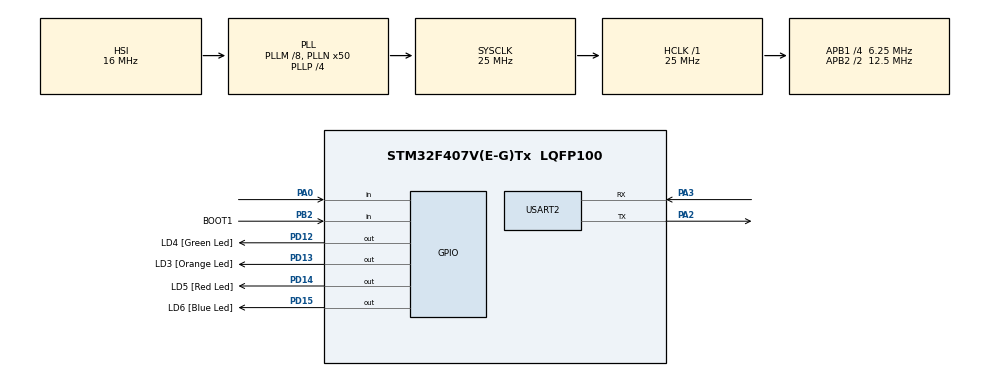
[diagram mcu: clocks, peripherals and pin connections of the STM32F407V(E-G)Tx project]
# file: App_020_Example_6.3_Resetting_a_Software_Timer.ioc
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Mcu.Family=STM32F4
Mcu.Name=STM32F407V(E-G)Tx
Mcu.Package=LQFP100
NVIC.PriorityGroup=NVIC_PRIORITYGROUP_4
NVIC.TIM6_DAC_IRQn=true\:0\:0\:false\:false\:true\:false\:true\:true
NVIC.TimeBase=TIM6_DAC_IRQn
NVIC.TimeBaseIP=TIM6
PA0-WKUP.Signal=GPIO_Input
PA13.GPIO_Label=SWDIO
PA13.Signal=SYS_JTMS-SWDIO
PA14.GPIO_Label=SWCLK
PA14.Signal=SYS_JTCK-SWCLK
PA2.Mode=Asynchronous
PA2.Signal=USART2_TX
PA3.Mode=Asynchronous
PA3.Signal=USART2_RX
PB2.GPIO_Label=BOOT1
PB2.GPIO_Mode=GPIO_MODE_INPUT
PB2.GPIO_PuPd=GPIO_NOPULL
PB2.Signal=GPIO_Input
PB3.GPIO_Label=SWO
PB3.Signal=SYS_JTDO-SWO
PC7.GPIO_Label=I2S3_MCK [CS43L22_MCLK]
PC7.GPIO_Mode=GPIO_MODE_AF_PP
PC7.GPIO_PuPd=GPIO_NOPULL
PC7.GPIO_Speed=GPIO_SPEED_FREQ_LOW
PC7.Signal=I2S3_MCK
PD12.GPIO_Label=LD4 [Green Led]
PD12.GPIO_PuPd=GPIO_NOPULL
PD12.GPIO_Speed=GPIO_SPEED_FREQ_LOW
PD12.Signal=GPIO_Output
PD13.GPIO_Label=LD3 [Orange Led]
PD13.GPIO_PuPd=GPIO_NOPULL
PD13.GPIO_Speed=GPIO_SPEED_FREQ_LOW
PD13.Signal=GPIO_Output
PD14.GPIO_Label=LD5 [Red Led]
PD14.GPIO_PuPd=GPIO_NOPULL
PD14.GPIO_Speed=GPIO_SPEED_FREQ_LOW
PD14.Signal=GPIO_Output
PD15.GPIO_Label=LD6 [Blue Led]
PD15.GPIO_PuPd=GPIO_NOPULL
PD15.GPIO_Speed=GPIO_SPEED_FREQ_LOW
PD15.Signal=GPIO_Output
ProjectManager.HeapSize=0x200
ProjectManager.StackSize=0x400
ProjectManager.TargetToolchain=STM32CubeIDE
RCC.48MHZClocksFreq_Value=14285714.285714285
RCC.AHBFreq_Value=25000000
RCC.APB1CLKDivider=RCC_HCLK_DIV4
RCC.APB1Freq_Value=6250000
RCC.APB1TimFreq_Value=12500000
RCC.APB2CLKDivider=RCC_HCLK_DIV2
RCC.APB2Freq_Value=12500000
RCC.APB2TimFreq_Value=25000000
RCC.CortexFreq_Value=25000000
RCC.HCLKFreq_Value=25000000
RCC.HSE_VALUE=8000000
RCC.HSI_VALUE=16000000
RCC.LSE_VALUE=32768
RCC.PLLM=8
RCC.PLLN=50
RCC.PLLP=RCC_PLLP_DIV4
RCC.PLLQ=7
RCC.SYSCLKFreq_VALUE=25000000
RCC.SYSCLKSource=RCC_SYSCLKSOURCE_PLLCLK
RCC.VCOOutputFreq_Value=100000000
USART2.VirtualMode=VM_ASYNC
VP_SYS_VS_tim6.Mode=TIM6
board=STM32F407G-DISC1

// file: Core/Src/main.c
/* USER CODE BEGIN Header */
/**
  ******************************************************************************
  * @file           : main.c
  * @brief          : Main program body
  ******************************************************************************
  * @attention
  *
  * Copyright (c) 2024 STMicroelectronics.
  * All rights reserved.
  *
  * This software is licensed under terms that can be found in the LICENSE file
  * in the root directory of this software component.
  * If no LICENSE file comes with this software, it is provided AS-IS.
  *
  *
  ******************************************************************************
  */

/**
 * @author  Julio Cesar Bernal Mendez
 * @brief   This is the "Example 6.3 Resetting a software timer"
 *          from the Mastering the FreeRTOS Real Time Kernel v1.0 book.
 *
 *          This example simulates the behavior of the backlight on a cellphone.
 *          The backlight:
 *          - Turns on when the button is pressed.
 *          - Remains on when the button is pressed again within a certain time period.
 *          - Automatically turns off if the button is not pressed within a certain time period.
 *
 *          A one-shot timer (2 seconds) is used to implement this behavior:
 *          - The simulated backlight is turned on when a key is pressed, and turned off in the
 *            software timer's callback function (vBacklightTimerCallback).
 *          - The software timer is reset each time a key is pressed.
 *          - The time period during which a key must be pressed to prevent the backlight being turned off
 *            is therefore equal to the period of the software timer; if the software timer is not reset by
 *            a key press before the timer expires, then the timer's callback function executes, and the
 *            the backlight is turned off.
 *
 *          Example 6.3 creates a task to poll the button, ideally an interrupt should be used otherwise
 *          when polling is used, processing time is wasted waiting for events that have not occurred.
 *          Example 6.3 is not event driven because interrupt management techniques are covered later.
 *
 * @version 0.1
 * @date    2024-11-4
 *
 */
/* USER CODE END Header */
#include "main.h"

/* USER CODE BEGIN Includes */
#include <stdio.h>
#include "FreeRTOS.h"
#include "task.h"
#include "timers.h"
/* USER CODE END Includes */

/* USER CODE BEGIN PD */
#define STRING_SIZE                   (62)

/* the period assigned to the one-shot timer is 2000 milliseconds */
#define mainBACKLIGHT_TIMER_PERIOD    pdMS_TO_TICKS( 2000 )
/* USER CODE END PD */

UART_HandleTypeDef huart2;

/* USER CODE BEGIN PV */
/* char array used to print out via UART */
char     pcOutputString[ STRING_SIZE ];

/* variable that holds the backlight timer handle */
TimerHandle_t xBacklightTimer;

/* variable that holds the status of xTaskCreate() for the button task */
BaseType_t xButtonTaskCreated;

/* variable that holds the status of xTimerStart() for the software timer */
BaseType_t xBacklightTimerStarted;

/* variable that holds the status of the backlight (ON/OFF) */
BaseType_t xSimulatedBacklightOn = pdFALSE;
/* USER CODE END PV */

void SystemClock_Config(void);
static void MX_GPIO_Init(void);
static void MX_USART2_UART_Init(void);
/* USER CODE BEGIN PFP */
void UART2_Print_Text( UART_HandleTypeDef *huart, const char *text );

static void vBacklightTimerCallback( TimerHandle_t xTimer );
static void vButtonHitTask( void *pvParameters );
/* USER CODE END PFP */

int main(void)
{

  /* MCU Configuration--------------------------------------------------------*/

  /* Reset of all peripherals, Initializes the Flash interface and the Systick. */
  HAL_Init();

  /* Configure the system clock */
  SystemClock_Config();

  /* Initialize all configured peripherals */
  MX_GPIO_Init();
  MX_USART2_UART_Init();
  /* USER CODE BEGIN 2 */
  /* enable CYCCNT (Cycle Count, needed for SEGGER SystemView) in DWT_CTRL register */
  DWT->CTRL |= DWT_CTRL_CYCCNTENA_Msk;

  /* initialize and configure SEGGER SystemView */
  SEGGER_SYSVIEW_Conf();

  /* start recording SEGGER SystemView events */
  SEGGER_SYSVIEW_Start();

  /* create the button polling task */
  xButtonTaskCreated =  xTaskCreate( vButtonHitTask, "Button", 1000, NULL, 1, NULL );

  /* create the one-shot timer, storing the handle to the created timer in xOneShotTimer */
  xBacklightTimer = xTimerCreate( "Backlight", /* text name for the software timer - not used by FreeRTOS */
                                  mainBACKLIGHT_TIMER_PERIOD, /* software timer's period in ticks */
                                  pdFALSE,   /* setting xAutoReload to pdFALSE creates a one-shot software timer */
                                  NULL,      /* the timer's ID is initialized to NULL */
                                  vBacklightTimerCallback /* vBacklightTimerCallback function is used by this software timer */
                                );

  /* check both the button task and the software timer (backlight) were created */
  if ( ( xButtonTaskCreated == pdPASS ) && ( xBacklightTimer != NULL ) )
  {
    /* Start the software timer (backlight) using a block time of 0 (no block time).
       The scheduler has not been started yet so any block time specified
       here would be ignored anyway */
    xBacklightTimerStarted = xTimerStart( xBacklightTimer, 0 );

    /* The implementation of xTimerStart() uses the timer command queue,
       and xTimerStart() will fail if the timer command queue gets full.
       The timer service task does not get created until the scheduler is
       started, so all commands sent to the command queue will stay in the
       queue until after the scheduler has been started. Check the call
       to xTimerStart() passed */
    if ( xBacklightTimerStarted == pdPASS )
    {
      /* start the scheduler */
      vTaskStartScheduler();
    }
  }
  /* USER CODE END 2 */

  /* Infinite loop */
  /* USER CODE BEGIN WHILE */

  /* If all is well, main() will not reach here because the scheduler will now
     be running the created tasks.
     If main() does reach here, then there was not enough heap memory to create either
     the idle or timer tasks */
  while (1)
  {
    /* USER CODE END WHILE */

  }
}

void SystemClock_Config(void)
{
  RCC_OscInitTypeDef RCC_OscInitStruct = {0};
  RCC_ClkInitTypeDef RCC_ClkInitStruct = {0};

  /** Configure the main internal regulator output voltage
  */
  __HAL_RCC_PWR_CLK_ENABLE();
  __HAL_PWR_VOLTAGESCALING_CONFIG(PWR_REGULATOR_VOLTAGE_SCALE1);

  /** Initializes the RCC Oscillators according to the specified parameters
  * in the RCC_OscInitTypeDef structure.
  */
  RCC_OscInitStruct.OscillatorType = RCC_OSCILLATORTYPE_HSI;
  RCC_OscInitStruct.HSIState = RCC_HSI_ON;
  RCC_OscInitStruct.HSICalibrationValue = RCC_HSICALIBRATION_DEFAULT;
  RCC_OscInitStruct.PLL.PLLState = RCC_PLL_ON;
  RCC_OscInitStruct.PLL.PLLSource = RCC_PLLSOURCE_HSI;
  RCC_OscInitStruct.PLL.PLLM = 8;
  RCC_OscInitStruct.PLL.PLLN = 50;
  RCC_OscInitStruct.PLL.PLLP = RCC_PLLP_DIV4;
  RCC_OscInitStruct.PLL.PLLQ = 7;
  if (HAL_RCC_OscConfig(&RCC_OscInitStruct) != HAL_OK)
  {
    Error_Handler();
  }

  /** Initializes the CPU, AHB and APB buses clocks
  */
  RCC_ClkInitStruct.ClockType = RCC_CLOCKTYPE_HCLK|RCC_CLOCKTYPE_SYSCLK
                              |RCC_CLOCKTYPE_PCLK1|RCC_CLOCKTYPE_PCLK2;
  RCC_ClkInitStruct.SYSCLKSource = RCC_SYSCLKSOURCE_PLLCLK;
  RCC_ClkInitStruct.AHBCLKDivider = RCC_SYSCLK_DIV1;
  RCC_ClkInitStruct.APB1CLKDivider = RCC_HCLK_DIV4;
  RCC_ClkInitStruct.APB2CLKDivider = RCC_HCLK_DIV2;

  if (HAL_RCC_ClockConfig(&RCC_ClkInitStruct, FLASH_LATENCY_0) != HAL_OK)
  {
    Error_Handler();
  }
}

static void MX_USART2_UART_Init(void)
{

  huart2.Instance = USART2;
  huart2.Init.BaudRate = 115200;
  huart2.Init.WordLength = UART_WORDLENGTH_8B;
  huart2.Init.StopBits = UART_STOPBITS_1;
  huart2.Init.Parity = UART_PARITY_NONE;
  huart2.Init.Mode = UART_MODE_TX_RX;
  huart2.Init.HwFlowCtl = UART_HWCONTROL_NONE;
  huart2.Init.OverSampling = UART_OVERSAMPLING_16;
  if (HAL_UART_Init(&huart2) != HAL_OK)
  {
    Error_Handler();
  }

}

static void MX_GPIO_Init(void)
{
  GPIO_InitTypeDef GPIO_InitStruct = {0};

  /* GPIO Ports Clock Enable */
  __HAL_RCC_GPIOA_CLK_ENABLE();
  __HAL_RCC_GPIOB_CLK_ENABLE();
  __HAL_RCC_GPIOD_CLK_ENABLE();
  __HAL_RCC_GPIOC_CLK_ENABLE();

  /*Configure GPIO pin Output Level */
  HAL_GPIO_WritePin(GPIOD, LD4_Pin|LD3_Pin|LD5_Pin|LD6_Pin, GPIO_PIN_RESET);

  /*Configure GPIO pin : PA0 */
  GPIO_InitStruct.Pin = GPIO_PIN_0;
  GPIO_InitStruct.Mode = GPIO_MODE_INPUT;
  GPIO_InitStruct.Pull = GPIO_NOPULL;
  HAL_GPIO_Init(GPIOA, &GPIO_InitStruct);

  /*Configure GPIO pin : BOOT1_Pin */
  GPIO_InitStruct.Pin = BOOT1_Pin;
  GPIO_InitStruct.Mode = GPIO_MODE_INPUT;
  GPIO_InitStruct.Pull = GPIO_NOPULL;
  HAL_GPIO_Init(BOOT1_GPIO_Port, &GPIO_InitStruct);

  /*Configure GPIO pins : LD4_Pin LD3_Pin LD5_Pin LD6_Pin */
  GPIO_InitStruct.Pin = LD4_Pin|LD3_Pin|LD5_Pin|LD6_Pin;
  GPIO_InitStruct.Mode = GPIO_MODE_OUTPUT_PP;
  GPIO_InitStruct.Pull = GPIO_NOPULL;
  GPIO_InitStruct.Speed = GPIO_SPEED_FREQ_LOW;
  HAL_GPIO_Init(GPIOD, &GPIO_InitStruct);

  /*Configure GPIO pin : I2S3_MCK_Pin */
  GPIO_InitStruct.Pin = I2S3_MCK_Pin;
  GPIO_InitStruct.Mode = GPIO_MODE_AF_PP;
  GPIO_InitStruct.Pull = GPIO_NOPULL;
  GPIO_InitStruct.Speed = GPIO_SPEED_FREQ_LOW;
  GPIO_InitStruct.Alternate = GPIO_AF6_SPI3;
  HAL_GPIO_Init(I2S3_MCK_GPIO_Port, &GPIO_InitStruct);

}

/* USER CODE BEGIN 4 */
void UART2_Print_Text( UART_HandleTypeDef *huart, const char *text )
{
  uint8_t character;

  /* loop through the string until null character found */
  for ( character = 0; text[ character ] != '\0'; character++ )
  {
    /* transmit current character over UART */
    HAL_UART_Transmit( huart, ( const uint8_t* ) &text[ character ], 1, 5000 );
  }
}

static void vBacklightTimerCallback( TimerHandle_t xTimer )
{
  /* record the time at which the one-shot timer callback was executed */
  TickType_t xTimeNow = xTaskGetTickCount();

  /* the backlight timer expired, indicate the backlight is off */
  xSimulatedBacklightOn = pdFALSE;

  /* print the time at which the backlight was turned off */
  ( void ) snprintf( pcOutputString, STRING_SIZE, "Timer expired, turning backlight OFF at time     %lu\n\r", xTimeNow );
  UART2_Print_Text( &huart2, ( const char * ) pcOutputString );
}

static void vButtonHitTask( void *pvParameters )
{
  const TickType_t xShortDelay = pdMS_TO_TICKS( 50 );
  TickType_t xTimeNow;

  /* prompt user to press the button */
  UART2_Print_Text( &huart2, "Press button to turn the backlight on.\n\r" );

  /* Ideally an application would be event driven and use an interrupt to process button presses.
     Since interrupts are covered later in the book, this task is used to poll for a button press */
  for ( ;; )
  {
    /* has the button been pressed */
    if ( HAL_GPIO_ReadPin( GPIOA, GPIO_PIN_0 ) == GPIO_PIN_SET )
    {
      /* button has been pressed, record the time */
      xTimeNow = xTaskGetTickCount();

      /* Reset the software timer:
       - if the backlight was previously off, then this call will start the timer.
       - if the backlight was previously on, then this call will restart the timer.

       A real application may read key presses in an interrupt. If this function was an ISR,
       then xTimerResetFromISR() must be used instead of xTimerReset() */
      xTimerReset( xBacklightTimer, xShortDelay );

      /* if backlight already went off */
      if ( xSimulatedBacklightOn == pdFALSE )
      {
        /* the backlight was off, so turn it on and print the time at which it was turned on */
        xSimulatedBacklightOn = pdTRUE;

        ( void ) snprintf( pcOutputString, STRING_SIZE, "Button pressed, turning backlight ON at time     %lu\n\r", xTimeNow );
        UART2_Print_Text( &huart2, ( const char * ) pcOutputString );
      }
      /* if backlight is still on */
      else
      {
        /* the backlight was already on, so print a message to say the timer is about to be reset
           and the time at which it was reset */
        ( void ) snprintf( pcOutputString, STRING_SIZE, "Button pressed, resetting software timer at time %lu\n\r", xTimeNow );
        UART2_Print_Text( &huart2, ( const char * ) pcOutputString );
      }
    }

    /* delay used to prevent many button presses are processed at once */
    vTaskDelay( pdMS_TO_TICKS( 200 ) );
  }
}
/* USER CODE END 4 */

void HAL_TIM_PeriodElapsedCallback(TIM_HandleTypeDef *htim)
{
  if (htim->Instance == TIM6) {
    HAL_IncTick();
  }
}

void Error_Handler(void)
{
  __disable_irq();
  while (1)
  {
  }
}
